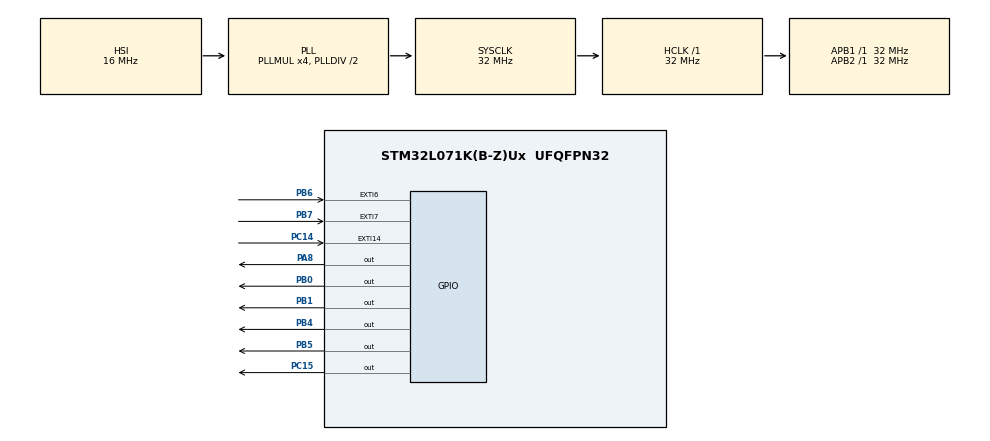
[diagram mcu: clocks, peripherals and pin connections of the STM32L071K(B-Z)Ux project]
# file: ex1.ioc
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Mcu.Family=STM32L0
Mcu.Name=STM32L071K(B-Z)Ux
Mcu.Package=UFQFPN32
NVIC.EXTI4_15_IRQn=true\:1\:0\:true\:false\:true\:true\:true
NVIC.TIM6_IRQn=true\:2\:0\:true\:false\:true\:true\:true
PA13.Mode=Serial_Wire
PA13.Signal=SYS_SWDIO
PA14.Mode=Serial_Wire
PA14.Signal=SYS_SWCLK
PA8.Signal=GPIO_Output
PB0.Signal=GPIO_Output
PB1.Signal=GPIO_Output
PB4.Signal=GPIO_Output
PB5.Signal=GPIO_Output
PB6.GPIO_ModeDefaultEXTI=GPIO_MODE_IT_RISING
PB6.GPIO_PuPd=GPIO_PULLDOWN
PB6.Signal=GPXTI6
PB7.GPIO_PuPd=GPIO_PULLDOWN
PB7.Signal=GPXTI7
PC14-OSC32_IN.GPIO_ModeDefaultEXTI=GPIO_MODE_IT_RISING
PC14-OSC32_IN.GPIO_PuPd=GPIO_PULLDOWN
PC14-OSC32_IN.Signal=GPXTI14
PC15-OSC32_OUT.Signal=GPIO_Output
ProjectManager.HeapSize=0x200
ProjectManager.StackSize=0x400
ProjectManager.TargetToolchain=MDK-ARM V5
RCC.AHBFreq_Value=32000000
RCC.APB1Freq_Value=32000000
RCC.APB1TimFreq_Value=32000000
RCC.APB2Freq_Value=32000000
RCC.APB2TimFreq_Value=32000000
RCC.HCLKFreq_Value=32000000
RCC.HSI16_VALUE=16000000
RCC.HSI_VALUE=16000000
RCC.LSE_VALUE=32768
RCC.MSI_VALUE=2097000
RCC.PLLMUL=RCC_PLLMUL_4
RCC.SYSCLKFreq_VALUE=32000000
RCC.SYSCLKSource=RCC_SYSCLKSOURCE_PLLCLK
RCC.VCOOutputFreq_Value=64000000
RTC.Format=RTC_FORMAT_BIN
RTC.SynchPrediv=307
TIM6.Period=999
TIM6.Prescaler=31
VP_RTC_VS_RTC_Activate.Mode=RTC_Enabled
VP_RTC_VS_RTC_Calendar.Mode=RTC_Calendar
VP_TIM6_VS_ClockSourceINT.Mode=Enable_Timer
board=custom

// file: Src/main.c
/* USER CODE BEGIN Header */
/**
  ******************************************************************************
  * @file           : main.c
  * @brief          : Main program body
  ******************************************************************************
  * @attention
  *
  * <h2><center>&copy; Copyright (c) 2019 STMicroelectronics.
  * All rights reserved.</center></h2>
  *
  * This software component is licensed by ST under BSD 3-Clause license,
  * the "License"; You may not use this file except in compliance with the
  * License. You may obtain a copy of the License at:
  *                        opensource.org/licenses/BSD-3-Clause
  *
  ******************************************************************************
  */
/* USER CODE END Header */

#include "main.h"
#include "rtc.h"
#include "tim.h"
#include "gpio.h"

/* USER CODE BEGIN Includes */
#include "stm32l0xx_hal.h"
#include "zm4xx_gpio.h"
#include "spi.h"
#include "timer.h"
#include "stddef.h"
#include "sx127x_lora.h"
#include "key.h"
/* USER CODE END Includes */

/* USER CODE BEGIN PTD */
#define FREQ  (433000000)
void SystemClock_Config(void);
void Hardware_Init(void);
radio_handle_t  handle;

 int ret = RADIO_RET_OK;

    uint16_t len = 0;
		uint8_t rx = 0;
		uint8_t tx = 0x55;
		uint8_t cntr = 0;
char lcdLine_1st_line[16];
char lcdLine_2st_line[16];
unsigned int timer=0,timer_lcd=0,timer_send=0;
unsigned int h=0,m=0,s=0,key_i=0,key_12=0;
/* USER CODE END PTD */

void SystemClock_Config(void);

/* USER CODE BEGIN 0 */
void Task_BrdInit(void)
{
    HAL_GPIO_WritePin(GPIOC, GPIO_PIN_15, GPIO_PIN_SET);

    OLED_PowerControl(ENABLE);

    HAL_Delay(200);
    OLED_Init();
    OLED_Clear();

    OLED_ShowString(0, 0, (unsigned char *)"                ", 16);
    OLED_ShowString(0, 2, (unsigned char *)"                ", 16);
}
void LoRa_Init(void)
{

	handle = radio_zm4xx_inst_init(spi_recv_byte,spi_send_byte,zm4xx_rst_pin_set,zm4xx_sel_pin_set,delay_ms,delay_us);

	if(handle != NULL){
		if(RADIO_RET_OK == radio_freq_set(handle, FREQ)){
				HAL_GPIO_WritePin(GPIOC, GPIO_PIN_15,GPIO_PIN_RESET);
		}

		radio_mode_set(handle, RX_MODE);	//Receive Mode
	}
}
void key_en(void);
/* USER CODE END 0 */

int main(void)
{

  /* MCU Configuration--------------------------------------------------------*/

  /* Reset of all peripherals, Initializes the Flash interface and the Systick. */
  HAL_Init();

  /* Configure the system clock */
  SystemClock_Config();

  /* Initialize all configured peripherals */
  MX_GPIO_Init();
  MX_RTC_Init();
  MX_TIM6_Init();
  /* USER CODE BEGIN 2 */
    Task_BrdInit();
		zm4xx_pin_init(); //LORA��Ҫ
    spi_init();//LORA��Ҫ
		LoRa_Init();
		HAL_TIM_Base_Start_IT(&htim6);
  /* USER CODE END 2 */

  /* Infinite loop */
    while (1)
    {

    /* USER CODE BEGIN 3 */
			key_scan();
			key_en();
			if(key_i==0)
			{
				HAL_RTC_GetTime(&hrtc, &sTime, RTC_FORMAT_BIN);
				HAL_RTC_GetDate(&hrtc, &sDate, RTC_FORMAT_BIN);
				sprintf(lcdLine_1st_line, "RTC");
				sprintf(lcdLine_2st_line, "%2d-%2d-%2d",sTime.Hours,sTime.Minutes,sTime.Seconds);
				if(timer_lcd==1)
				{
					OLED_ShowString(0, 0, (unsigned char *)lcdLine_1st_line, 16);
					OLED_ShowString(0, 2, (unsigned char *)lcdLine_2st_line, 16);
				}
			}
			if(key_i==1)
			{
				HAL_GPIO_WritePin(GPIOC, GPIO_PIN_15, GPIO_PIN_SET);
				sprintf(lcdLine_1st_line, "SET");
				sprintf(lcdLine_2st_line, "%2d-%2d-%2d",h,m,s);
				if(timer_lcd==1)
				{
					OLED_ShowString(0, 0, (unsigned char *)lcdLine_1st_line, 16);
					OLED_ShowString(0, 2, (unsigned char *)lcdLine_2st_line, 16);
				}
			}
			key=0;
    }
  /* USER CODE END 3 */
}
/* USER CODE BEGIN 4 */
void key_en()
{
	if(key==11)
	{
		key_i++;
		if(key_i==2) key_i=0;
		sTime.Hours=h;
		sTime.Minutes=m;
		sTime.Seconds=s;
		HAL_RTC_SetTime(&hrtc, &sTime, RTC_FORMAT_BIN);
		HAL_RTC_SetDate(&hrtc, &sDate, RTC_FORMAT_BIN);
	}
	if(key==12)
	{
		key_12++;
		if(key_12==3)
			key_12=0;
	}
	if(key==21)
	{
		switch(key_12)
		{
			case 0:
			{
				h++;
				if(h==24)	h=0;
			}break;
			case 1:
			{
				m++;
				if(m==60)	m=0;
			}break;
			case 2:
			{
				s++;
				if(s==60)	s=0;
			}break;
		}
	}
	if(key==22)
	{
		unsigned int i=5;
		while(i--&&timer_send)
			radio_buf_send(handle, (unsigned char *)lcdLine_2st_line, sizeof(lcdLine_2st_line));
	}
}
void HAL_TIM_PeriodElapsedCallback(TIM_HandleTypeDef *htim)
{
	if(htim->Instance==TIM6)
	{
		timer++;
		if(timer%10==0)
		{
			timer_send++;	//key:22,send
			if(timer_send==5)
				timer_send=0;
		}
		if(timer%100==0)
		{
			timer_lcd=!timer_lcd;			//lcd
		}
		if(timer%1000==0&&key_i==0)
		{
			HAL_GPIO_TogglePin(GPIOC, GPIO_PIN_15);//led
		}
		if(timer==10000)
		{
			timer=0;
		}
	}
}
/* USER CODE END 4 */
void SystemClock_Config(void)
{
  RCC_OscInitTypeDef RCC_OscInitStruct = {0};
  RCC_ClkInitTypeDef RCC_ClkInitStruct = {0};
  RCC_PeriphCLKInitTypeDef PeriphClkInit = {0};

  /** Configure the main internal regulator output voltage
  */
  __HAL_PWR_VOLTAGESCALING_CONFIG(PWR_REGULATOR_VOLTAGE_SCALE1);
  /** Initializes the CPU, AHB and APB busses clocks
  */
  RCC_OscInitStruct.OscillatorType = RCC_OSCILLATORTYPE_HSI|RCC_OSCILLATORTYPE_LSI;
  RCC_OscInitStruct.HSIState = RCC_HSI_ON;
  RCC_OscInitStruct.HSICalibrationValue = RCC_HSICALIBRATION_DEFAULT;
  RCC_OscInitStruct.LSIState = RCC_LSI_ON;
  RCC_OscInitStruct.PLL.PLLState = RCC_PLL_ON;
  RCC_OscInitStruct.PLL.PLLSource = RCC_PLLSOURCE_HSI;
  RCC_OscInitStruct.PLL.PLLMUL = RCC_PLLMUL_4;
  RCC_OscInitStruct.PLL.PLLDIV = RCC_PLLDIV_2;
  if (HAL_RCC_OscConfig(&RCC_OscInitStruct) != HAL_OK)
  {
    Error_Handler();
  }
  /** Initializes the CPU, AHB and APB busses clocks
  */
  RCC_ClkInitStruct.ClockType = RCC_CLOCKTYPE_HCLK|RCC_CLOCKTYPE_SYSCLK
                              |RCC_CLOCKTYPE_PCLK1|RCC_CLOCKTYPE_PCLK2;
  RCC_ClkInitStruct.SYSCLKSource = RCC_SYSCLKSOURCE_PLLCLK;
  RCC_ClkInitStruct.AHBCLKDivider = RCC_SYSCLK_DIV1;
  RCC_ClkInitStruct.APB1CLKDivider = RCC_HCLK_DIV1;
  RCC_ClkInitStruct.APB2CLKDivider = RCC_HCLK_DIV1;

  if (HAL_RCC_ClockConfig(&RCC_ClkInitStruct, FLASH_LATENCY_1) != HAL_OK)
  {
    Error_Handler();
  }
  PeriphClkInit.PeriphClockSelection = RCC_PERIPHCLK_RTC;
  PeriphClkInit.RTCClockSelection = RCC_RTCCLKSOURCE_LSI;
  if (HAL_RCCEx_PeriphCLKConfig(&PeriphClkInit) != HAL_OK)
  {
    Error_Handler();
  }
}

void Error_Handler(void)
{
}

/************************ (C) COPYRIGHT STMicroelectronics *****END OF FILE****/
